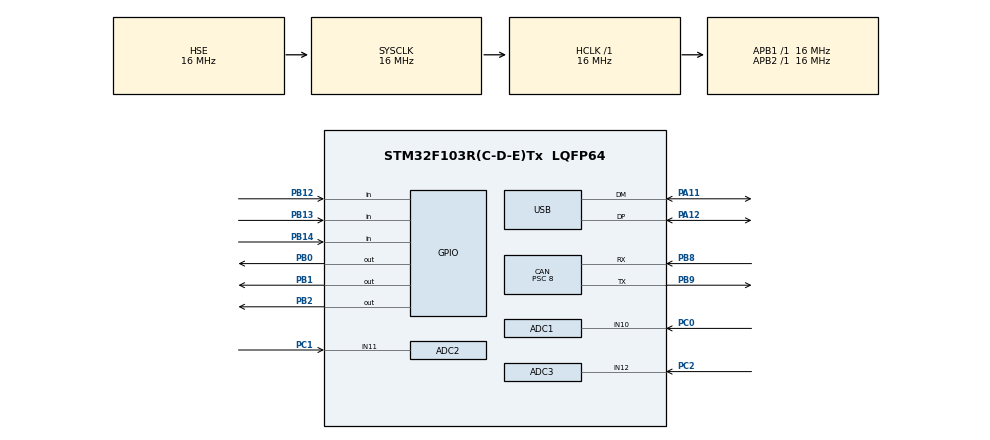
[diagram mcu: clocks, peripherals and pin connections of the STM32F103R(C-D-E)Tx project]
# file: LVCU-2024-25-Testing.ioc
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ADC1.Channel-0\#ChannelRegularConversion=ADC_CHANNEL_10
ADC1.NbrOfConversionFlag=1
ADC1.Rank-0\#ChannelRegularConversion=1
ADC1.SamplingTime-0\#ChannelRegularConversion=ADC_SAMPLETIME_1CYCLE_5
ADC1.master=1
ADC2.Channel-0\#ChannelRegularConversion=ADC_CHANNEL_11
ADC2.NbrOfConversionFlag=1
ADC2.Rank-0\#ChannelRegularConversion=1
ADC2.SamplingTime-0\#ChannelRegularConversion=ADC_SAMPLETIME_1CYCLE_5
ADC3.Channel-0\#ChannelRegularConversion=ADC_CHANNEL_12
ADC3.NbrOfConversion=1
ADC3.NbrOfConversionFlag=1
ADC3.Rank-0\#ChannelRegularConversion=1
ADC3.SamplingTime-0\#ChannelRegularConversion=ADC_SAMPLETIME_1CYCLE_5
CAN.ABOM=ENABLE
CAN.AWUM=ENABLE
CAN.BS1=CAN_BS1_2TQ
CAN.CalculateBaudRate=500000
CAN.CalculateTimeBit=2000
CAN.CalculateTimeQuantum=500.0
CAN.Prescaler=8
Mcu.Family=STM32F1
Mcu.Name=STM32F103R(C-D-E)Tx
Mcu.Package=LQFP64
NVIC.PriorityGroup=NVIC_PRIORITYGROUP_4
NVIC.TIM2_IRQn=true\:0\:0\:false\:false\:true\:true\:true\:true
NVIC.TIM3_IRQn=true\:0\:0\:false\:false\:true\:true\:true\:true
NVIC.USB_LP_CAN1_RX0_IRQn=true\:0\:0\:false\:false\:true\:true\:true\:true
PA11.Mode=Device
PA11.Signal=USB_DM
PA12.Mode=Device
PA12.Signal=USB_DP
PA13.Mode=Serial_Wire
PA13.Signal=SYS_JTMS-SWDIO
PA14.Mode=Serial_Wire
PA14.Signal=SYS_JTCK-SWCLK
PB0.GPIO_PuPd=GPIO_PULLDOWN
PB0.Signal=GPIO_Output
PB1.Signal=GPIO_Output
PB12.GPIO_PuPd=GPIO_PULLDOWN
PB12.Signal=GPIO_Input
PB13.GPIO_PuPd=GPIO_PULLDOWN
PB13.Signal=GPIO_Input
PB14.GPIO_PuPd=GPIO_PULLDOWN
PB14.Signal=GPIO_Input
PB2.Signal=GPIO_Output
PB8.Mode=CAN_Activate
PB8.Signal=CAN_RX
PB9.Mode=CAN_Activate
PB9.Signal=CAN_TX
PC0.Signal=ADCx_IN10
PC1.Signal=ADCx_IN11
PC2.Signal=ADCx_IN12
PD0-OSC_IN.Mode=HSE-External-Oscillator
PD0-OSC_IN.Signal=RCC_OSC_IN
PD1-OSC_OUT.Mode=HSE-External-Oscillator
PD1-OSC_OUT.Signal=RCC_OSC_OUT
ProjectManager.HeapSize=0x200
ProjectManager.StackSize=0x400
ProjectManager.TargetToolchain=STM32CubeIDE
RCC.AHBFreq_Value=16000000
RCC.APB1Freq_Value=16000000
RCC.APB1TimFreq_Value=16000000
RCC.APB2Freq_Value=16000000
RCC.APB2TimFreq_Value=16000000
RCC.HCLKFreq_Value=16000000
RCC.HSE_VALUE=16000000
RCC.PLLMUL=RCC_PLL_MUL3
RCC.SYSCLKFreq_VALUE=16000000
RCC.SYSCLKSource=RCC_SYSCLKSOURCE_HSE
RCC.USBFreq_Value=48000000
SH.ADCx_IN10.0=ADC1_IN10,IN10
SH.ADCx_IN11.0=ADC2_IN11,IN11
SH.ADCx_IN12.0=ADC3_IN12,IN12
TIM2.ClockDivision=TIM_CLOCKDIVISION_DIV1
TIM2.Period=8000
TIM2.Prescaler=21
TIM3.ClockDivision=TIM_CLOCKDIVISION_DIV1
TIM3.Period=14399
TIM3.Prescaler=99
VP_TIM2_VS_ClockSourceINT.Mode=Internal
VP_TIM3_VS_ClockSourceINT.Mode=Internal
board=custom

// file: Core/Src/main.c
/* USER CODE BEGIN Header */
/**
 ******************************************************************************
 * @file           : main.c
 * @brief          : Main program body
 ******************************************************************************
 * @attention
 *
 * Copyright (c) 2024 STMicroelectronics.
 * All rights reserved.
 *
 * This software is licensed under terms that can be found in the LICENSE file
 * in the root directory of this software component.
 * If no LICENSE file comes with this software, it is provided AS-IS.
 *
 ******************************************************************************
 */
/* USER CODE END Header */
#include "main.h"

/* USER CODE BEGIN Includes */
#include <stdio.h>
#include <math.h>
#include "launch_control.h"

//TPS1 0 Nominal 1.6564 :: 100 Nominal 2.2905
//TPS2 0 Nominal 0.8153 :: 100 Nominal 1.4364

// TAKE ID 0x555 byte 2 (3 for apps2) divide by 255 * 3.3 to convert to voltage
//Change FAULT LOW and FAULT high to prevent shutoffs

#define TPS1_0PER 1.38
#define TPS1_100PER 2.34

#define TPS1_FAULT_LOW 0.2
#define TPS1_FAULT_HIGH 2.8

#define TPS2_0PER 0.62
#define TPS2_100PER 1.64

#define TPS2_FAULT_LOW 0.2
#define TPS2_FAULT_HIGH 2.8

#define BPS_Setpoint 0.765

#define APPS_TRIP_PERCENT 0.4

#define TPS_IIR_RATIO 0.f

#define ADC_TPS1	&hadc1
#define ADC_TPS2    &hadc2
#define ADC_BPS		&hadc3

#define MIN_REGEN_TORQUE -200
#define MAX_REGEN_TORQUE -250

/* USER CODE END Includes */

ADC_HandleTypeDef hadc1;
ADC_HandleTypeDef hadc2;
ADC_HandleTypeDef hadc3;

CAN_HandleTypeDef hcan;

TIM_HandleTypeDef htim2;
TIM_HandleTypeDef htim3;

PCD_HandleTypeDef hpcd_USB_FS;

void SystemClock_Config(void);
static void MX_GPIO_Init(void);
static void MX_ADC1_Init(void);
static void MX_CAN_Init(void);
static void MX_USB_PCD_Init(void);
static void MX_TIM2_Init(void);
static void MX_TIM3_Init(void);
static void MX_ADC2_Init(void);
static void MX_ADC3_Init(void);

/* USER CODE BEGIN 0 */
CAN_RxHeaderTypeDef RxHeader;

uint8_t RxData[8];
uint8_t ddb = 10;
uint32_t torque_limit = 2200; //x10
uint32_t motor_speed = 0;
volatile uint32_t current_limit = 125;
uint32_t bus_voltage = 396;
volatile uint8_t soc = 0;
volatile uint8_t inverter_enabled = 0;
volatile uint8_t inverter_lockout = 1;
uint8_t can_ready = 0;
uint8_t print_ready = 0;
volatile uint8_t ready_to_drive = 0;
uint8_t tps1_oor = 0;
uint8_t tps2_oor = 0;
uint8_t tps_dist_error = 0;
volatile uint16_t rtd_timeout = 199;
volatile uint8_t inv_message = 0;
volatile uint8_t rtd_buzzer_counter = 0;
volatile uint8_t start_disable_debounce = 1;
volatile uint16_t disable_debounce = 999;

void HAL_CAN_RxFifo0MsgPendingCallback(CAN_HandleTypeDef *hcan) {
	if (HAL_CAN_GetRxMessage(hcan, CAN_RX_FIFO0, &RxHeader, RxData) != HAL_OK) {

		Error_Handler();
	}

	if (RxHeader.StdId == 0x0B1) {
		//torque_limit = RxData[1] << 8 | RxData[0];
	}
	else if (RxHeader.StdId == 0x0AA) {
		inverter_enabled = RxData[6] & 0x01;
		inverter_lockout = (RxData[6] >> 7) & 0x01;
		uint8_t ready_pin_state = (RxData[3] >> 1) & 0x01;
		inv_message = RxData[6];
		if(ready_pin_state){
			rtd_timeout = 0;
		}
	}
	else if (RxHeader.StdId == 0x0A5){
		motor_speed = RxData[3] << 8 | RxData[2];
	}
	else if (RxHeader.StdId == 0x202){
		current_limit = (RxData[1] << 8 | RxData[0]) - 3;
	}
	else if (RxHeader.StdId == 0x600){
		soc = RxData[1];
		bus_voltage = (RxData[5] << 8 | RxData[4]);
	}
	// AiM EVO5 front wheel speed broadcast
	else if (RxHeader.StdId == LC_AIM_WHEEL_SPEED_CAN_ID){
		uint16_t fl_speed = RxData[1] << 8 | RxData[0]; // Front left  km/h x10, little endian
		uint16_t fr_speed = RxData[3] << 8 | RxData[2]; // Front right km/h x10, little endian
		lc_feed_wheel_speed(fl_speed, fr_speed);
	}

}

void HAL_TIM_PeriodElapsedCallback(TIM_HandleTypeDef *htim) {
	if (htim->Instance == TIM2) {
		can_ready = 1;
		if(start_disable_debounce){
			disable_debounce += 1;
			disable_debounce = fmin(disable_debounce, 100);
		}
		else{
			disable_debounce = 0;
		}
	}
	else if (htim->Instance == TIM3) {
		print_ready = 1;
		if(ready_to_drive && rtd_buzzer_counter < 100){
			rtd_buzzer_counter += 1;
		}
		rtd_timeout += 1;
		rtd_timeout = fmin(rtd_timeout, 200);
	}
}

float tmap_lut(float tps) {
	float tps_local = (fmaxf(0.1f, fminf(tps, 0.9f)) - 0.1f) * (1.0f / 0.8f);
	return tps_local;
}

int torque_lut(float tps) {
	uint32_t torque_limit_local = torque_limit;
	torque_limit_local = fminf(torque_limit, (float)(4200 * current_limit) / fmaxf(230.4f, (float)motor_speed * 0.1076f));
	//if(motor_speed < 150){
		//torque_limit_local = fminf(torque_limit_local, 900);
	//}
	if(motor_speed >= 6000){
		torque_limit_local = 300;
	}
	return tps * torque_limit_local;
}

/* USER CODE END 0 */

int main(void)
{

  /* USER CODE BEGIN 1 */
	for (int i = 0; i < sizeof(RxData); i++) {
				RxData[i] = 0;
			}

  /* USER CODE END 1 */

  /* MCU Configuration--------------------------------------------------------*/

  /* Reset of all peripherals, Initializes the Flash interface and the Systick. */
  HAL_Init();

  /* Configure the system clock */
  SystemClock_Config();

  /* Initialize all configured peripherals */
  MX_GPIO_Init();
  MX_ADC1_Init();
  MX_CAN_Init();
  MX_USB_PCD_Init();
  MX_TIM2_Init();
  MX_TIM3_Init();
  MX_ADC2_Init();
  MX_ADC3_Init();
  /* USER CODE BEGIN 2 */
  CAN_TxHeaderTypeDef TxHeader;
    	CAN_TxHeaderTypeDef debugHeader;
    	CAN_TxHeaderTypeDef rtdHeader;
    	uint8_t TxData[8];
    	uint32_t TxMailbox;

    	CAN_FilterTypeDef canfilterconfig;

    	canfilterconfig.FilterActivation = CAN_FILTER_ENABLE;
    	canfilterconfig.FilterBank = 1; // which filter bank to use from the assigned ones
    	canfilterconfig.FilterFIFOAssignment = CAN_RX_FIFO0;
    	canfilterconfig.FilterIdHigh = 0x0B1 << 5;
    	canfilterconfig.FilterIdLow = 0;
    	canfilterconfig.FilterMaskIdHigh = 0x0B1 << 5;
    	canfilterconfig.FilterMaskIdLow = 0x0000;
    	canfilterconfig.FilterMode = CAN_FILTERMODE_IDMASK;
    	canfilterconfig.FilterScale = CAN_FILTERSCALE_32BIT;
    	HAL_CAN_ConfigFilter(&hcan, &canfilterconfig);

    	canfilterconfig.FilterActivation = CAN_FILTER_ENABLE;
    	canfilterconfig.FilterBank = 2; // which filter bank to use from the assigned ones
    	canfilterconfig.FilterFIFOAssignment = CAN_RX_FIFO0;
    	canfilterconfig.FilterIdHigh = 0x0AA << 5;
    	canfilterconfig.FilterIdLow = 0;
    	canfilterconfig.FilterMaskIdHigh = 0x0AA << 5;
    	canfilterconfig.FilterMaskIdLow = 0x0000;
    	canfilterconfig.FilterMode = CAN_FILTERMODE_IDMASK;
    	canfilterconfig.FilterScale = CAN_FILTERSCALE_32BIT;
    	HAL_CAN_ConfigFilter(&hcan, &canfilterconfig);

    	canfilterconfig.FilterActivation = CAN_FILTER_ENABLE;
    	canfilterconfig.FilterBank = 3; // which filter bank to use from the assigned ones
    	canfilterconfig.FilterFIFOAssignment = CAN_RX_FIFO0;
    	canfilterconfig.FilterIdHigh = 0x0A5 << 5;
    	canfilterconfig.FilterIdLow = 0;
    	canfilterconfig.FilterMaskIdHigh = 0x0A5 << 5;
    	canfilterconfig.FilterMaskIdLow = 0x0000;
    	canfilterconfig.FilterMode = CAN_FILTERMODE_IDMASK;
    	canfilterconfig.FilterScale = CAN_FILTERSCALE_32BIT;
    	HAL_CAN_ConfigFilter(&hcan, &canfilterconfig);

    	canfilterconfig.FilterActivation = CAN_FILTER_ENABLE;
    	canfilterconfig.FilterBank = 4; // which filter bank to use from the assigned ones
    	canfilterconfig.FilterFIFOAssignment = CAN_RX_FIFO0;
    	canfilterconfig.FilterIdHigh = 0x202 << 5;
    	canfilterconfig.FilterIdLow = 0;
    	canfilterconfig.FilterMaskIdHigh = 0x202 << 5;
    	canfilterconfig.FilterMaskIdLow = 0x0000;
    	canfilterconfig.FilterMode = CAN_FILTERMODE_IDMASK;
    	canfilterconfig.FilterScale = CAN_FILTERSCALE_32BIT;
    	HAL_CAN_ConfigFilter(&hcan, &canfilterconfig);

    	canfilterconfig.FilterActivation = CAN_FILTER_ENABLE;
    	canfilterconfig.FilterBank = 5; // which filter bank to use from the assigned ones
    	canfilterconfig.FilterFIFOAssignment = CAN_RX_FIFO0;
    	canfilterconfig.FilterIdHigh = 0x600 << 5;
    	canfilterconfig.FilterIdLow = 0;
    	canfilterconfig.FilterMaskIdHigh = 0x600 << 5;
    	canfilterconfig.FilterMaskIdLow = 0x0000;
    	canfilterconfig.FilterMode = CAN_FILTERMODE_IDMASK;
    	canfilterconfig.FilterScale = CAN_FILTERSCALE_32BIT;
    	HAL_CAN_ConfigFilter(&hcan, &canfilterconfig);

    	/* CAN filter for AiM front wheel speed */
    	canfilterconfig.FilterActivation = CAN_FILTER_ENABLE;
    	canfilterconfig.FilterBank = 6;
    	canfilterconfig.FilterFIFOAssignment = CAN_RX_FIFO0;
    	canfilterconfig.FilterIdHigh = LC_AIM_WHEEL_SPEED_CAN_ID << 5;
    	canfilterconfig.FilterIdLow = 0;
    	canfilterconfig.FilterMaskIdHigh = LC_AIM_WHEEL_SPEED_CAN_ID << 5;
    	canfilterconfig.FilterMaskIdLow = 0x0000;
    	canfilterconfig.FilterMode = CAN_FILTERMODE_IDMASK;
    	canfilterconfig.FilterScale = CAN_FILTERSCALE_32BIT;
    	HAL_CAN_ConfigFilter(&hcan, &canfilterconfig);

    	HAL_CAN_Start(&hcan);

    	if (HAL_CAN_ActivateNotification(&hcan, CAN_IT_RX_FIFO0_MSG_PENDING)
    			!= HAL_OK) {
    		Error_Handler();
    	}

    	// Initialize launch control system
    	lc_init();

  /* USER CODE END 2 */

  /* Infinite loop */
  /* USER CODE BEGIN WHILE */
    			TxHeader.IDE = CAN_ID_STD;
    	  		TxHeader.StdId = 0x0C0;
    	  		TxHeader.RTR = CAN_RTR_DATA;
    	  		TxHeader.DLC = 8;

    	  		debugHeader.IDE = CAN_ID_STD;
    	  		debugHeader.StdId = 0x555;
    	  		debugHeader.RTR = CAN_RTR_DATA;
    	  		debugHeader.DLC = 8;

    	  		rtdHeader.IDE = CAN_ID_STD;
    	  		rtdHeader.StdId = 0x556;
    	  		rtdHeader.RTR = CAN_RTR_DATA;
    	  		rtdHeader.DLC = 1;

    	  		/* Launch control debug CAN header */
    	  		CAN_TxHeaderTypeDef lcDebugHeader;
    	  		lcDebugHeader.IDE = CAN_ID_STD;
    	  		lcDebugHeader.StdId = LC_DEBUG_CAN_ID;
    	  		lcDebugHeader.RTR = CAN_RTR_DATA;
    	  		lcDebugHeader.DLC = 8;

    	  		float tps1 = 0;
    	  		float tps2 = 0;
    	  		float tps_combined = 0;
    	  		float bps = 0;
    	  		int32_t torque_request = 0;
    	  		uint8_t heartbeat_counter = 0;
    	  		uint32_t tps1_adc = 0;
    	  		uint32_t tps2_adc = 0;
    	  		uint32_t bps_adc = 0;
    	  		uint8_t brake_pressed = 0;
    	  		uint8_t bse_error = 0;
    	  		uint8_t should_disable_inverter = 0;

    	  		HAL_TIM_Base_Start_IT(&htim2);
    	  		HAL_TIM_Base_Start_IT(&htim3);

    	  		float tps1_avg = 0;
    	  		float tps2_avg = 0;

    	  		int32_t rtd_debounce = 0;
    	  		uint8_t rtd_raw = 0;
    	  		uint8_t in_regen = 0;
    	  		uint32_t regen_start_speed = 0;
    	  		while (1) {

    	  			HAL_ADC_Start(ADC_BPS);
    	  			HAL_ADC_Start(ADC_TPS1);
    	  			HAL_ADC_Start(ADC_TPS2);

    	  			//HAL_CAN_AbortTxRequest(&hcan, CAN_TX_MAILBOX0 | CAN_TX_MAILBOX1 | CAN_TX_MAILBOX2);

    	  			// Throttle Position Potentiometer 1 Acquire and Calculate
    	  			HAL_ADC_PollForConversion(ADC_TPS1, HAL_MAX_DELAY);
    	  			tps1_adc = HAL_ADC_GetValue(ADC_TPS1);
    	  			float tps1_v = (float)tps1_adc * (3.3f / 4095.0f);
    	  			tps1 = (tps1_v - TPS1_0PER) / (TPS1_100PER - TPS1_0PER); // Percentage
    	  			tps1 = fmaxf(tps1, 0);
    	  			tps1_avg = (tps1_avg == 0) ? tps1 : tps1_avg * TPS_IIR_RATIO + tps1 * (1.0f - TPS_IIR_RATIO);
    	  			tps1 = tps1_avg;

    	  			// Throttle Position Potentiometer 2 Acquire and Calculate
    	  			HAL_ADC_PollForConversion(ADC_TPS2, HAL_MAX_DELAY);
    	  			tps2_adc = HAL_ADC_GetValue(ADC_TPS2);
    	  			float tps2_v = (float)tps2_adc * (3.3f / 4095.0f);
    	  			tps2 = (tps2_v - TPS2_0PER) / (TPS2_100PER - TPS2_0PER); // Percentage
    	  			tps2 = fmaxf(tps2, 0);
    	  			tps2_avg = (tps2_avg == 0) ? tps2 : tps2_avg * TPS_IIR_RATIO + tps2 * (1.0f - TPS_IIR_RATIO);
    	  			tps2 = tps2_avg;

    	  			// TPS and Torque request calculate
    	  			tps_combined = (tps1 + tps2) / 2;
    	  			torque_request = torque_lut(tmap_lut(tps_combined));

    	  			//REGEN LOGIC :)

     	  			if (tps_combined < 0.05f && motor_speed > 500 && !brake_pressed && soc <= 80){
     	  				if (!in_regen) {
     	  					in_regen = 1;
     	  					regen_start_speed = motor_speed;
     	  				} else if (motor_speed > regen_start_speed) {
     	  					regen_start_speed = motor_speed;
     	  				}

     	  				if (regen_start_speed > 550) {
     	  					float ratio = (float)(motor_speed - 500) / (float)(regen_start_speed - 500);
     	  					torque_request = MAX_REGEN_TORQUE + (int32_t)(ratio * (float)(MIN_REGEN_TORQUE - MAX_REGEN_TORQUE));
     	  				} else {
     	  					torque_request = MAX_REGEN_TORQUE;
     	  				}
     	  			} else {
     	  				in_regen = 0;
     	  			}

    	  			// Launch control: only active when enabled
    	  			if (launch_control_enable) {
    	  				lc_feed_tick(HAL_GetTick());
    	  				torque_request = lc_update(torque_request, motor_speed, tps_combined);
    	  			} else {
    	  				lc_init(); // Reset state machine when disabled
    	  			}

    	  			// Brake Pressure Acquire and Calculate
    	  			HAL_ADC_PollForConversion(ADC_BPS, HAL_MAX_DELAY);
    	  			bps_adc = HAL_ADC_GetValue(ADC_BPS);
    	  			bps = (float)bps_adc * (5.0f / 4095.0f);
    	  			brake_pressed = bps > BPS_Setpoint;

    	  			// Ready to Drive button poll
    	  			rtd_raw = HAL_GPIO_ReadPin(GPIOB, GPIO_PIN_14);
    	  			rtd_raw &= brake_pressed;

    	  			if (rtd_raw){
						rtd_debounce += 3;
					}
					else {
						rtd_debounce -= 4;
					}

    	  			rtd_debounce = fminf(fmaxf(rtd_debounce, 0), 100);

    	  			if (rtd_debounce > 50){
    	  				ready_to_drive = 1;
    	  			}

    	 		///////////////////UN COMMENT THIS PLZ///////////////////

    	  			ready_to_drive &= rtd_timeout < 20;

    	  		//////////////////////////////////////////////////////////
    	  			// Ready to Drive dashboard light
    	  			HAL_GPIO_WritePin(GPIOB, GPIO_PIN_1, ready_to_drive);

    	  			// Ready to drive Buzzer
    	  			if (ready_to_drive == 0) {
    	  				rtd_buzzer_counter = 0;
    	  			}
    	  			else {
						if(rtd_buzzer_counter < 25){
							HAL_GPIO_WritePin(GPIOB, GPIO_PIN_2, GPIO_PIN_SET);
						}
						else{
							HAL_GPIO_WritePin(GPIOB, GPIO_PIN_2, GPIO_PIN_RESET);
						}
    	  			}

    	  			// Error States
					tps1_oor = tps1_v < TPS1_FAULT_LOW || tps1_v > TPS1_FAULT_HIGH;
					tps2_oor = tps2_v < TPS2_FAULT_LOW || tps2_v > TPS2_FAULT_HIGH;
					tps1 = fminf(tps1, 100.0f);
					tps2 = fminf(tps2, 100.0f);
    	  			tps_dist_error = fabsf(tps1 - tps2) > APPS_TRIP_PERCENT;

    	  			if(!bse_error){
    	  				bse_error = brake_pressed && tps_combined >= 0.1f;
    	  			}
    	  			else{
    	  				bse_error = tps_combined >= 0.05f;
    	  			}

    	  			// Disable Inverter if any errors present
    	  			start_disable_debounce = tps1_oor || tps2_oor || tps_dist_error || bse_error || (torque_request < 5 && motor_speed < 500);
    	  			should_disable_inverter = (disable_debounce > 5) || !ready_to_drive;

    	  			if (should_disable_inverter) {
    	  				torque_request = 0;
    	  			}

    	  			if (can_ready) {	// Every ~10 (?) ms
    	  				if (inverter_lockout == 1) {
    	  					TxData[0] = torque_request & 0xFF;			// Torque Command lo
    	  					TxData[1] = torque_request >> 8 & 0xFF;		// Torque Command hi
    	  					TxData[2] = 0x00;							// Speed Command lo
    	  					TxData[3] = 0x00;							// Speed Command hi
    	  					TxData[4] = 0x01; // Direction: Reverse = 0x00 | Forward = 0x01;
    	  					TxData[5] = 0x00 | 0x02 | (heartbeat_counter << 4);// 5[0] = Inv enable | 5[1] = Discharge enable | counter
    	  					TxData[6] = 0x00;			// Torque limit lo, 0 = EEprom limit
    	  					TxData[7] = 0x00;			// Torque limit hi, 0 = EEprom limit

    	  					if (HAL_CAN_AddTxMessage(&hcan, &TxHeader, TxData, &TxMailbox)
    	  							!= HAL_OK) {
    	  						Error_Handler();
    	  					}
    	  					heartbeat_counter += 1;
    	  					heartbeat_counter = heartbeat_counter & 0x0F;
    	  					can_ready = 0;
    	  					HAL_Delay(10);
    	  				}
    	  			else{
    	  				TxData[0] = torque_request & 0xFF;				// Torque Command lo
    	  				TxData[1] = torque_request >> 8 & 0xFF;			// Torque Command hi
    	  				TxData[2] = 0x00;								// Speed Command lo
    	  				TxData[3] = 0x00;								// Speed Command hi
    	  				TxData[4] = 0x01; 	// Direction: Reverse = 0x00 | Forward = 0x01;
    	  				TxData[5] = (~should_disable_inverter & 0x01) | 0x02 | (heartbeat_counter << 4); // 5[0] = Inv enable | 5[1] = Discharge enable | counter
    	  				TxData[6] = 0x00;				// Torque limit lo, 0 = EEprom limit
    	  				TxData[7] = 0x00;				// Torque limit hi, 0 = EEprom limit

    	  				if (HAL_CAN_AddTxMessage(&hcan, &TxHeader, TxData, &TxMailbox)
    	  						!= HAL_OK) {
    	  					Error_Handler();
    	  				}
    	  				heartbeat_counter += 1;
    	  				heartbeat_counter = heartbeat_counter & 0x0F;
    	  				can_ready = 0;
    	  			}
    	  			}

    	  			if (print_ready) {	// Every ~100(?) ms
    	  				TxData[0] = rtd_timeout & 0xFF;
    	  				TxData[1] = (bps_adc >> 4) & 0xFF;
    	  				TxData[2] = (tps1_adc >> 4) & 0xFF;
    	  				TxData[3] = (tps2_adc >> 4) & 0xFF;
    	  				TxData[4] = (inverter_lockout << 7) | (inverter_enabled << 6) | (tps_dist_error << 5) | (tps2_oor << 4) | (tps1_oor << 3) | (brake_pressed << 2) | (ready_to_drive << 1) | should_disable_inverter;
    	  				TxData[5] = (int) (tps1 * 100) & 0xff;
    	  				TxData[6] = (int) (tps2 * 100) & 0xff;
    	  				TxData[7] = (int) (tmap_lut(tps_combined) * 100) & 0xFF;
	  					uint8_t lcData[8] = {7, 7, 49, 7, 7, 49, 7, 7};

	  					const lc_debug_t *lc = lc_get_debug();

						lcData[0] = (uint8_t)lc->state;                              // LC state (0-3)
						lcData[1] = (uint8_t)(lc->slip_ratio * 200.0f);              // Slip ratio × 200 (0-200 → 0-100%)
						lcData[2] = (uint8_t)fminf(fabsf(lc->slip_rate) * 50.0f, 255.0f);  // |Slip rate| × 50
						lcData[3] = (lc->lc_torque >> 0) & 0xFF;                     // LC torque lo
						lcData[4] = (lc->lc_torque >> 8) & 0xFF;                     // LC torque hi
						lcData[5] = (uint8_t)17.38f;
						//lcData[5] = (uint8_t)(fminf(fmaxf(lc->pi_output, -127.0f), 127.0f) + 128.0f); // PI output, signed→unsigned
						//0x05 = 0b0000 1001
						lcData[6] = (lc->sensor_healthy << 0) | (lc->slip_rate_cut << 1) | (launch_control_enable << 2) | ((lc->state & 0x03) << 3);
						lcData[7] = (uint8_t)(lc->vehicle_speed * 10.0f);            // Vehicle speed m/s × 10

    	  				if (HAL_CAN_AddTxMessage(&hcan, &debugHeader, TxData, &TxMailbox)
    	  						!= HAL_OK) {
    	  					Error_Handler();
    	  				}

//    	  				if (HAL_CAN_AddTxMessage(&hcan, &lcDebugHeader, lcData, &TxMailbox) != HAL_OK){
//    	  				    	  						Error_Handler();
//						}

    	  				TxData[0] = (ready_to_drive) & 0x01;

    	  				if (HAL_CAN_AddTxMessage(&hcan, &rtdHeader, TxData, &TxMailbox)
    	  						!= HAL_OK) {
    	  					Error_Handler();
    	  				}

    	  				uint32_t timeout_start = HAL_GetTick();
    	  				while(HAL_CAN_GetTxMailboxesFreeLevel(&hcan) == 0){
    	  					uint32_t t = HAL_GetTick();
    	  					if(t < timeout_start || (t - timeout_start) > 15){
    	  						break;
    	  					}
    	  				}

    	  				// Launch control debug telemetry

    	  					//lcDebugHeader.ExtId = 0;
    	  					//lcDebugHeader.TransmitGlobalTime = 0;

    	  				print_ready = 0;
    	  			}
    /* USER CODE END WHILE */

    		}
}

void SystemClock_Config(void)
{
  RCC_OscInitTypeDef RCC_OscInitStruct = {0};
  RCC_ClkInitTypeDef RCC_ClkInitStruct = {0};
  RCC_PeriphCLKInitTypeDef PeriphClkInit = {0};

  /** Initializes the RCC Oscillators according to the specified parameters
  * in the RCC_OscInitTypeDef structure.
  */
  RCC_OscInitStruct.OscillatorType = RCC_OSCILLATORTYPE_HSE;
  RCC_OscInitStruct.HSEState = RCC_HSE_ON;
  RCC_OscInitStruct.HSEPredivValue = RCC_HSE_PREDIV_DIV1;
  RCC_OscInitStruct.HSIState = RCC_HSI_ON;
  RCC_OscInitStruct.PLL.PLLState = RCC_PLL_ON;
  RCC_OscInitStruct.PLL.PLLSource = RCC_PLLSOURCE_HSE;
  RCC_OscInitStruct.PLL.PLLMUL = RCC_PLL_MUL3;
  if (HAL_RCC_OscConfig(&RCC_OscInitStruct) != HAL_OK)
  {
    Error_Handler();
  }

  /** Initializes the CPU, AHB and APB buses clocks
  */
  RCC_ClkInitStruct.ClockType = RCC_CLOCKTYPE_HCLK|RCC_CLOCKTYPE_SYSCLK
                              |RCC_CLOCKTYPE_PCLK1|RCC_CLOCKTYPE_PCLK2;
  RCC_ClkInitStruct.SYSCLKSource = RCC_SYSCLKSOURCE_HSE;
  RCC_ClkInitStruct.AHBCLKDivider = RCC_SYSCLK_DIV1;
  RCC_ClkInitStruct.APB1CLKDivider = RCC_HCLK_DIV1;
  RCC_ClkInitStruct.APB2CLKDivider = RCC_HCLK_DIV1;

  if (HAL_RCC_ClockConfig(&RCC_ClkInitStruct, FLASH_LATENCY_0) != HAL_OK)
  {
    Error_Handler();
  }
  PeriphClkInit.PeriphClockSelection = RCC_PERIPHCLK_ADC|RCC_PERIPHCLK_USB;
  PeriphClkInit.AdcClockSelection = RCC_ADCPCLK2_DIV2;
  PeriphClkInit.UsbClockSelection = RCC_USBCLKSOURCE_PLL;
  if (HAL_RCCEx_PeriphCLKConfig(&PeriphClkInit) != HAL_OK)
  {
    Error_Handler();
  }
}

static void MX_ADC1_Init(void)
{

  ADC_ChannelConfTypeDef sConfig = {0};

  /** Common config
  */
  hadc1.Instance = ADC1;
  hadc1.Init.ScanConvMode = ADC_SCAN_DISABLE;
  hadc1.Init.ContinuousConvMode = DISABLE;
  hadc1.Init.DiscontinuousConvMode = DISABLE;
  hadc1.Init.ExternalTrigConv = ADC_SOFTWARE_START;
  hadc1.Init.DataAlign = ADC_DATAALIGN_RIGHT;
  hadc1.Init.NbrOfConversion = 1;
  if (HAL_ADC_Init(&hadc1) != HAL_OK)
  {
    Error_Handler();
  }

  /** Configure Regular Channel
  */
  sConfig.Channel = ADC_CHANNEL_10;
  sConfig.Rank = ADC_REGULAR_RANK_1;
  sConfig.SamplingTime = ADC_SAMPLETIME_1CYCLE_5;
  if (HAL_ADC_ConfigChannel(&hadc1, &sConfig) != HAL_OK)
  {
    Error_Handler();
  }

}

static void MX_ADC2_Init(void)
{

  ADC_ChannelConfTypeDef sConfig = {0};

  /** Common config
  */
  hadc2.Instance = ADC2;
  hadc2.Init.ScanConvMode = ADC_SCAN_DISABLE;
  hadc2.Init.ContinuousConvMode = DISABLE;
  hadc2.Init.DiscontinuousConvMode = DISABLE;
  hadc2.Init.ExternalTrigConv = ADC_SOFTWARE_START;
  hadc2.Init.DataAlign = ADC_DATAALIGN_RIGHT;
  hadc2.Init.NbrOfConversion = 1;
  if (HAL_ADC_Init(&hadc2) != HAL_OK)
  {
    Error_Handler();
  }

  /** Configure Regular Channel
  */
  sConfig.Channel = ADC_CHANNEL_11;
  sConfig.Rank = ADC_REGULAR_RANK_1;
  sConfig.SamplingTime = ADC_SAMPLETIME_1CYCLE_5;
  if (HAL_ADC_ConfigChannel(&hadc2, &sConfig) != HAL_OK)
  {
    Error_Handler();
  }

}

static void MX_ADC3_Init(void)
{

  ADC_ChannelConfTypeDef sConfig = {0};

  /** Common config
  */
  hadc3.Instance = ADC3;
  hadc3.Init.ScanConvMode = ADC_SCAN_DISABLE;
  hadc3.Init.ContinuousConvMode = DISABLE;
  hadc3.Init.DiscontinuousConvMode = DISABLE;
  hadc3.Init.ExternalTrigConv = ADC_SOFTWARE_START;
  hadc3.Init.DataAlign = ADC_DATAALIGN_RIGHT;
  hadc3.Init.NbrOfConversion = 1;
  if (HAL_ADC_Init(&hadc3) != HAL_OK)
  {
    Error_Handler();
  }

  /** Configure Regular Channel
  */
  sConfig.Channel = ADC_CHANNEL_12;
  sConfig.Rank = ADC_REGULAR_RANK_1;
  sConfig.SamplingTime = ADC_SAMPLETIME_1CYCLE_5;
  if (HAL_ADC_ConfigChannel(&hadc3, &sConfig) != HAL_OK)
  {
    Error_Handler();
  }

}

static void MX_CAN_Init(void)
{

  hcan.Instance = CAN1;
  hcan.Init.Prescaler = 8;
  hcan.Init.Mode = CAN_MODE_NORMAL;
  hcan.Init.SyncJumpWidth = CAN_SJW_1TQ;
  hcan.Init.TimeSeg1 = CAN_BS1_2TQ;
  hcan.Init.TimeSeg2 = CAN_BS2_1TQ;
  hcan.Init.TimeTriggeredMode = DISABLE;
  hcan.Init.AutoBusOff = ENABLE;
  hcan.Init.AutoWakeUp = ENABLE;
  hcan.Init.AutoRetransmission = DISABLE;
  hcan.Init.ReceiveFifoLocked = DISABLE;
  hcan.Init.TransmitFifoPriority = DISABLE;
  if (HAL_CAN_Init(&hcan) != HAL_OK)
  {
    Error_Handler();
  }

}

static void MX_TIM2_Init(void)
{

  TIM_ClockConfigTypeDef sClockSourceConfig = {0};
  TIM_MasterConfigTypeDef sMasterConfig = {0};

  htim2.Instance = TIM2;
  htim2.Init.Prescaler = 21;
  htim2.Init.CounterMode = TIM_COUNTERMODE_UP;
  htim2.Init.Period = 8000;
  htim2.Init.ClockDivision = TIM_CLOCKDIVISION_DIV1;
  htim2.Init.AutoReloadPreload = TIM_AUTORELOAD_PRELOAD_DISABLE;
  if (HAL_TIM_Base_Init(&htim2) != HAL_OK)
  {
    Error_Handler();
  }
  sClockSourceConfig.ClockSource = TIM_CLOCKSOURCE_INTERNAL;
  if (HAL_TIM_ConfigClockSource(&htim2, &sClockSourceConfig) != HAL_OK)
  {
    Error_Handler();
  }
  sMasterConfig.MasterOutputTrigger = TIM_TRGO_RESET;
  sMasterConfig.MasterSlaveMode = TIM_MASTERSLAVEMODE_DISABLE;
  if (HAL_TIMEx_MasterConfigSynchronization(&htim2, &sMasterConfig) != HAL_OK)
  {
    Error_Handler();
  }

}

static void MX_TIM3_Init(void)
{

  TIM_ClockConfigTypeDef sClockSourceConfig = {0};
  TIM_MasterConfigTypeDef sMasterConfig = {0};

  htim3.Instance = TIM3;
  htim3.Init.Prescaler = 99;
  htim3.Init.CounterMode = TIM_COUNTERMODE_UP;
  htim3.Init.Period = 14399;
  htim3.Init.ClockDivision = TIM_CLOCKDIVISION_DIV1;
  htim3.Init.AutoReloadPreload = TIM_AUTORELOAD_PRELOAD_DISABLE;
  if (HAL_TIM_Base_Init(&htim3) != HAL_OK)
  {
    Error_Handler();
  }
  sClockSourceConfig.ClockSource = TIM_CLOCKSOURCE_INTERNAL;
  if (HAL_TIM_ConfigClockSource(&htim3, &sClockSourceConfig) != HAL_OK)
  {
    Error_Handler();
  }
  sMasterConfig.MasterOutputTrigger = TIM_TRGO_RESET;
  sMasterConfig.MasterSlaveMode = TIM_MASTERSLAVEMODE_DISABLE;
  if (HAL_TIMEx_MasterConfigSynchronization(&htim3, &sMasterConfig) != HAL_OK)
  {
    Error_Handler();
  }

}

static void MX_USB_PCD_Init(void)
{

  hpcd_USB_FS.Instance = USB;
  hpcd_USB_FS.Init.dev_endpoints = 8;
  hpcd_USB_FS.Init.speed = PCD_SPEED_FULL;
  hpcd_USB_FS.Init.low_power_enable = DISABLE;
  hpcd_USB_FS.Init.lpm_enable = DISABLE;
  hpcd_USB_FS.Init.battery_charging_enable = DISABLE;
  if (HAL_PCD_Init(&hpcd_USB_FS) != HAL_OK)
  {
    Error_Handler();
  }

}

static void MX_GPIO_Init(void)
{
  GPIO_InitTypeDef GPIO_InitStruct = {0};

  /* GPIO Ports Clock Enable */
  __HAL_RCC_GPIOD_CLK_ENABLE();
  __HAL_RCC_GPIOC_CLK_ENABLE();
  __HAL_RCC_GPIOB_CLK_ENABLE();
  __HAL_RCC_GPIOA_CLK_ENABLE();

  /*Configure GPIO pin Output Level */
  HAL_GPIO_WritePin(GPIOB, GPIO_PIN_0|GPIO_PIN_1|GPIO_PIN_2, GPIO_PIN_RESET);

  /*Configure GPIO pin : PB0 */
  GPIO_InitStruct.Pin = GPIO_PIN_0;
  GPIO_InitStruct.Mode = GPIO_MODE_OUTPUT_PP;
  GPIO_InitStruct.Pull = GPIO_PULLDOWN;
  GPIO_InitStruct.Speed = GPIO_SPEED_FREQ_LOW;
  HAL_GPIO_Init(GPIOB, &GPIO_InitStruct);

  /*Configure GPIO pins : PB1 PB2 */
  GPIO_InitStruct.Pin = GPIO_PIN_1|GPIO_PIN_2;
  GPIO_InitStruct.Mode = GPIO_MODE_OUTPUT_PP;
  GPIO_InitStruct.Pull = GPIO_NOPULL;
  GPIO_InitStruct.Speed = GPIO_SPEED_FREQ_LOW;
  HAL_GPIO_Init(GPIOB, &GPIO_InitStruct);

  /*Configure GPIO pins : PB12 PB13 PB14 */
  GPIO_InitStruct.Pin = GPIO_PIN_12|GPIO_PIN_13|GPIO_PIN_14;
  GPIO_InitStruct.Mode = GPIO_MODE_INPUT;
  GPIO_InitStruct.Pull = GPIO_PULLDOWN;
  HAL_GPIO_Init(GPIOB, &GPIO_InitStruct);

}

void Error_Handler(void)
{
	__disable_irq();
	while (1) {
	}
}
